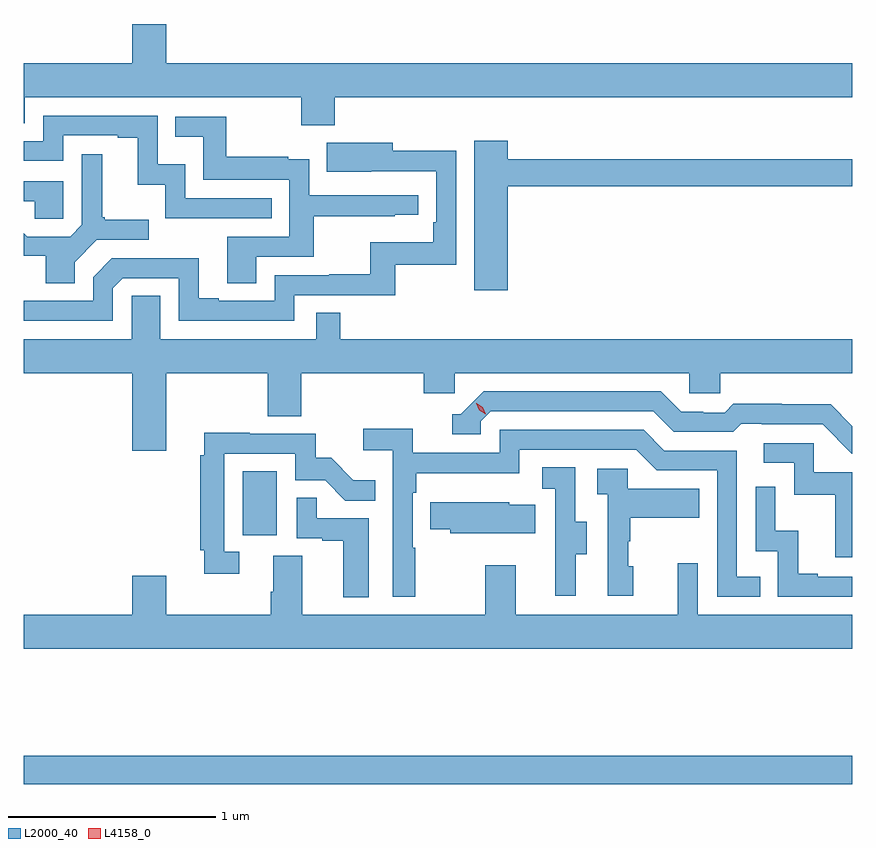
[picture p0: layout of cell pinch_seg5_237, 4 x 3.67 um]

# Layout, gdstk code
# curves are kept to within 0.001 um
import gdstk
lib = gdstk.Library(unit=1e-6, precision=1e-09)
def R(c, l, rs):  # rectangles x0, y0, x1, y1
    for r in rs: c.add(gdstk.rectangle(r[:2], r[2:], *l))
def P(c, l, *ps):  # polygons
    for p in ps: c.add(gdstk.Polygon(p, *l))
L2000_40 = (2000, 40)
L4158_0 = (4158, 0)

pinch_seg5_237 = lib.new_cell('pinch_seg5_237')
R(pinch_seg5_237, L2000_40, [(967.681,906.724,971.681,906.86), (968.738,907.926,968.902,908.233)])
P(pinch_seg5_237, L2000_40, [(969.182,910.04),(971.681,910.04),(971.681,910.204),(968.368,910.204),(968.368,910.393),(968.204,910.393),(968.204,910.204),(967.681,910.204),(967.681,909.913),(967.686,909.913),(967.686,910.04),(969.022,910.04),(969.022,909.905),(969.182,909.905)],
  [(968.879,909.552),(968.46,909.552),(968.46,909.715),(968.328,909.715),(968.328,909.951),(967.776,909.951),(967.776,909.828),(967.681,909.828),(967.681,909.732),(967.872,909.732),(967.872,909.855),(968.135,909.855),(968.135,909.843),(968.231,909.843),(968.231,909.617),(968.364,909.617),(968.364,909.456),(968.879,909.456)],
  [(968.803,909.27),(969.08,909.27),(969.08,909.466),(969.473,909.466),(969.473,909.471),(969.586,909.471),(969.586,909.567),(969.06,909.567),(969.06,909.739),(968.957,909.739),(968.957,909.751),(968.659,909.751),(968.659,909.945),(968.413,909.945),(968.413,909.848),(968.548,909.848),(968.548,909.642),(968.964,909.642),(968.964,909.366),(968.663,909.366),(968.663,909.142),(968.803,909.142)],
  [(970.018,909.61),(971.681,909.61),(971.681,909.739),(970.018,909.739),(970.018,909.829),(969.857,909.829),(969.857,909.108),(970.018,909.108)],
  [(968.112,909.117),(968.16,909.165),(968.43,909.165),(968.43,908.961),(968.988,908.961),(968.988,909.084),(969.475,909.084),(969.475,909.231),(969.768,909.231),(969.768,909.782),(969.463,909.782),(969.463,909.82),(969.145,909.82),(969.145,909.68),(969.672,909.681),(969.672,909.436),(969.659,909.436),(969.659,909.34),(969.354,909.34),(969.354,909.185),(969.157,909.185),(969.157,909.18),(968.892,909.18),(968.892,909.057),(968.623,909.057),(968.623,909.07),(968.527,909.07),(968.527,909.263),(968.322,909.263),(968.322,909.261),(968.106,909.261),(968.016,909.171),(968.016,909.057),(967.681,909.057),(967.681,908.961),(968.112,908.961)],
  [(967.927,909.244),(968.034,909.351),(968.284,909.351),(968.284,909.448),(968.071,909.448),(968.071,909.46),(968.059,909.46),(968.059,909.763),(967.962,909.763),(967.962,909.423),(967.905,909.366),(967.699,909.366),(967.681,909.384),(967.681,909.274),(967.787,909.274),(967.787,909.142),(967.927,909.142)],
  [(967.872,909.633),(967.681,909.633),(967.681,909.537),(967.735,909.537),(967.735,909.453),(967.872,909.453)],
  [(968.368,908.708),(968.86,908.708),(968.86,908.5),(969.02,908.5),(969.02,908.708),(969.611,908.708),(969.611,908.61),(969.762,908.61),(969.762,908.708),(970.893,908.708),(970.893,908.61),(971.043,908.61),(971.043,908.708),(971.681,908.708),(971.681,908.872),(969.209,908.872),(969.209,908.999),(969.093,908.999),(969.093,908.872),(968.341,908.872),(968.341,909.08),(968.202,909.08),(968.202,908.872),(967.681,908.872),(967.681,908.708),(968.204,908.708),(968.204,908.334),(968.368,908.334)],
  [(971.681,908.452),(971.576,908.557),(971.34,908.557),(971.34,908.56),(971.107,908.56),(971.065,908.517),(970.962,908.517),(970.962,908.52),(970.855,908.52),(970.756,908.619),(969.903,908.619),(969.792,908.508),(969.749,908.508),(969.749,908.412),(969.888,908.412),(969.888,908.475),(969.936,908.523),(970.719,908.523),(970.818,908.424),(971.107,908.424),(971.146,908.463),(971.245,908.463),(971.245,908.46),(971.538,908.46),(971.679,908.319),(971.681,908.319)],
  [(969.571,907.865),(969.558,907.865),(969.558,908.129),(969.577,908.129),(969.577,908.225),(970.074,908.225),(970.074,908.337),(970.638,908.337),(970.737,908.238),(971.028,908.238),(971.028,907.629),(971.237,907.629),(971.237,907.725),(971.124,907.725),(971.124,908.334),(970.774,908.334),(970.675,908.433),(969.978,908.433),(969.978,908.322),(969.56,908.322),(969.56,908.438),(969.321,908.438),(969.321,908.336),(969.462,908.336),(969.462,907.629),(969.571,907.629)],
  [(968.722,907.845),(968.649,907.845),(968.649,908.319),(968.991,908.319),(968.991,908.19),(969.136,908.19),(969.234,908.092),(969.377,908.092),(969.377,908.191),(969.273,908.191),(969.166,908.298),(969.09,908.298),(969.09,908.415),(968.771,908.415),(968.771,908.42),(968.552,908.42),(968.552,908.312),(968.533,908.312),(968.533,907.852),(968.552,907.852),(968.552,907.74),(968.722,907.74)],
  [(971.681,908.229),(971.496,908.229),(971.496,908.37),(971.253,908.37),(971.253,908.274),(971.4,908.274),(971.4,908.121),(971.599,908.121),(971.599,907.818),(971.681,907.818)],
  [(970.345,907.834),(970.399,907.834),(970.399,907.989),(970.344,907.989),(970.344,908.252),(970.185,908.252),(970.185,908.149),(970.248,908.149),(970.248,907.845),(970.247,907.845),(970.247,907.632),(970.345,907.632)],
  [(970.624,907.776),(970.599,907.776),(970.599,907.895),(970.609,907.895),(970.609,908.009),(970.943,908.009),(970.943,908.149),(970.596,908.149),(970.596,908.247),(970.449,908.247),(970.449,908.123),(970.5,908.123),(970.5,907.632),(970.624,907.632)],
  [(971.681,907.725),(971.515,907.725),(971.515,907.738),(971.42,907.738),(971.42,907.946),(971.31,907.946),(971.31,908.158),(971.214,908.158),(971.214,907.848),(971.322,907.848),(971.322,907.629),(971.681,907.629)],
  [(969.346,908.007),(969.095,908.007),(969.095,908.105),(969,908.105),(969,907.911),(969.121,907.911),(969.121,907.899),(969.224,907.899),(969.224,907.625),(969.346,907.625)],
  [(970.151,908.071),(970.026,908.071),(970.026,908.083),(969.643,908.083),(969.643,907.954),(969.741,907.954),(969.741,907.934),(970.151,907.934)],
  [(971.681,907.54),(970.935,907.54),(970.935,907.789),(970.838,907.789),(970.838,907.54),(970.057,907.54),(970.057,907.78),(969.91,907.78),(969.91,907.54),(969.025,907.54),(969.025,907.826),(968.885,907.826),(968.885,907.652),(968.873,907.652),(968.873,907.54),(968.368,907.54),(968.368,907.729),(968.204,907.729),(968.204,907.54),(967.681,907.54),(967.681,907.376),(971.681,907.376)])
P(pinch_seg5_237, L4158_0, [(969.911,908.508),(969.881,908.529),(969.866,908.562),(969.866,908.562),(969.867,908.562),(969.897,908.542),(969.912,908.509),(969.912,908.508)])

lib.write_gds('pinch_seg5_237.gds')
